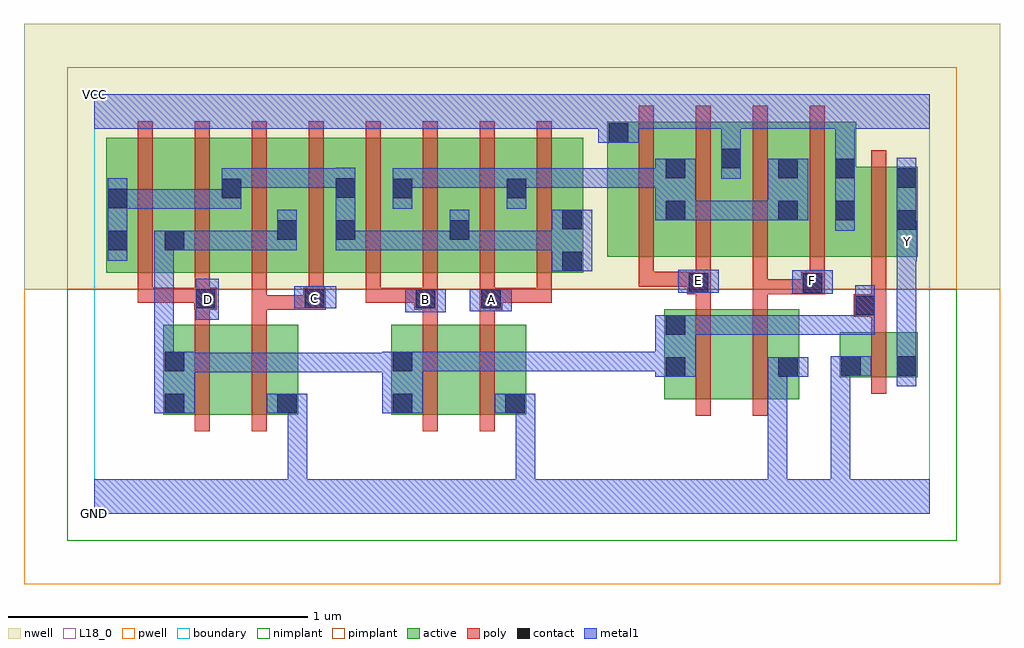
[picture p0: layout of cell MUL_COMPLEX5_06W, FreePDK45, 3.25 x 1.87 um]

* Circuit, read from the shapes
.subckt MUL_COMPLEX5_06W A B C D E F GND VCC Y
M1 n1 D n2 VSUBS nfet w=0.3u l=0.05u
M2 GND C n1 VSUBS nfet w=0.3u l=0.05u
M3 n3 B n2 VSUBS nfet w=0.3u l=0.05u
M4 GND A n3 VSUBS nfet w=0.3u l=0.05u
M5 n4 E n2 VSUBS nfet w=0.3u l=0.05u
M6 GND F n4 VSUBS nfet w=0.3u l=0.05u
M7 Y n2 GND VSUBS nfet w=0.15u l=0.05u
M8 n2 D n5 n6 pfet w=0.45u l=0.05u m=2
M9 n2 C n5 n6 pfet w=0.45u l=0.05u m=2
M10 n7 B n5 n6 pfet w=0.45u l=0.05u m=2
M11 n7 A n5 n6 pfet w=0.45u l=0.05u m=2
M12 n7 E VCC n6 pfet w=0.45u l=0.05u m=2
M13 n7 F VCC n6 pfet w=0.45u l=0.05u m=2
M14 Y n2 VCC n6 pfet w=0.3u l=0.05u
.ends

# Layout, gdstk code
import gdstk
lib = gdstk.Library(unit=1e-6, precision=1e-09)
def R(c, l, rs):  # rectangles x0, y0, x1, y1
    for r in rs: c.add(gdstk.rectangle(r[:2], r[2:], *l))
def A(c, l, x, y, w, h, nx, ny, dx, dy):  # array of equal rectangles
    R(c, l, [(x+i*dx, y+j*dy, x+i*dx+w, y+j*dy+h) for i in range(nx) for j in range(ny)])
active = (1, 0)
pwell = (2, 0)
nwell = (3, 0)
nimplant = (4, 0)
pimplant = (5, 0)
poly = (9, 0)
contact = (10, 0)
metal1 = (11, 0)
L18_0 = (18, 0)
boundary = (235, 0)

mul_complex5_06w = lib.new_cell('MUL_COMPLEX5_06W')
A(mul_complex5_06w, active, 0.04, 0.805, 0.075, 0.395, 3, 1, 0.38, 0)
A(mul_complex5_06w, active, 0.8, 0.805, 0.265, 0.45, 3, 1, 0.19, 0)
R(mul_complex5_06w, active, [(0.23,0.33,0.455,0.63), (0.23,0.33,0.305,0.63), (0.455,0.33,0.68,0.63), (0.605,0.33,0.68,0.63), (0.99,0.33,1.215,0.63), (0.99,0.33,1.065,0.63), (1.215,0.33,1.44,0.63), (1.365,0.33,1.44,0.547), (1.9,0.382,2.125,0.682), (1.9,0.382,1.975,0.682), (2.125,0.382,2.35,0.682), (2.275,0.395,2.35,0.682), (2.485,0.455,2.56,0.605), (2.485,0.455,2.745,0.605), (2.67,0.455,2.745,0.605), (0.04,0.805,0.305,1.255), (0.23,0.805,0.495,1.255), (0.23,0.805,0.305,1.07), (0.42,0.805,0.68,1.255), (0.605,0.805,0.68,1.07), (0.605,0.805,0.875,1.255), (0.99,0.805,1.065,1.2), (1.18,0.805,1.255,1.07), (1.37,0.805,1.63,1.255), (1.37,0.805,1.445,1.2), (1.555,0.805,1.63,1.047), (1.71,0.857,1.785,1.307), (1.71,0.857,1.975,1.307), (1.9,0.857,1.975,1.2), (1.9,0.857,2.16,1.307), (2.085,0.857,2.35,1.307), (2.085,0.857,2.16,1.255), (2.275,0.857,2.54,1.307), (2.275,0.857,2.35,1.2), (2.465,0.857,2.745,1.157), (2.465,0.857,2.54,1.307), (2.67,0.857,2.745,1.157)])
R(mul_complex5_06w, pwell, [(-0.235,-0.235,3.02,0.75)])
R(mul_complex5_06w, nwell, [(-0.235,0.75,3.02,1.635)])
R(mul_complex5_06w, nimplant, [(-0.09,-0.09,2.875,0.75)])
R(mul_complex5_06w, pimplant, [(-0.09,0.75,2.875,1.49)])
A(mul_complex5_06w, poly, 0.715, 0.705, 0.05, 0.095, 5, 1, 0.19, 0)
A(mul_complex5_06w, poly, 0.145, 0.75, 0.05, 0.56, 8, 1, 0.19, 0)
A(mul_complex5_06w, poly, 1.815, 0.802, 0.05, 0.56, 4, 1, 0.19, 0)
R(mul_complex5_06w, poly, [(0.335,0.275,0.385,0.685), (0.525,0.275,0.575,0.685), (1.095,0.275,1.145,0.685), (1.285,0.275,1.335,0.685), (2.005,0.327,2.055,0.737), (2.195,0.327,2.245,0.737), (2.59,0.4,2.64,0.66), (2.59,0.61,2.64,0.707), (0.335,0.635,0.385,0.73), (0.525,0.635,0.575,0.73), (1.095,0.635,1.145,0.73), (1.285,0.635,1.335,0.73), (2.532,0.657,2.64,0.732), (0.332,0.68,0.407,0.755), (0.525,0.68,0.575,0.73), (0.525,0.68,0.575,0.73), (0.525,0.68,0.575,0.73), (0.525,0.68,0.575,0.8), (0.525,0.68,0.747,0.73), (0.697,0.68,0.772,0.755), (1.067,0.68,1.145,0.755), (1.285,0.68,1.36,0.755), (2.59,0.682,2.64,0.852), (2.005,0.687,2.055,0.782), (2.195,0.687,2.245,0.782), (0.145,0.705,0.195,0.8), (0.145,0.705,0.195,0.755), (0.145,0.705,0.382,0.755), (0.332,0.705,0.382,0.755), (0.332,0.705,0.382,0.755), (0.335,0.705,0.385,0.8), (0.905,0.705,0.955,0.755), (0.905,0.705,1.117,0.755), (1.067,0.705,1.117,0.755), (1.067,0.705,1.117,0.755), (1.31,0.705,1.525,0.755), (1.475,0.705,1.525,0.755), (1.475,0.705,1.525,0.755), (1.475,0.705,1.525,0.755), (1.977,0.732,2.055,0.807), (2.195,0.732,2.245,0.782), (2.195,0.732,2.407,0.782), (2.195,0.732,2.245,0.852), (2.357,0.732,2.407,0.782), (2.357,0.732,2.407,0.782), (2.357,0.732,2.435,0.807), (1.815,0.757,1.865,0.852), (1.815,0.757,1.865,0.807), (1.815,0.757,2.027,0.807), (1.977,0.757,2.027,0.807), (1.977,0.757,2.027,0.807), (2.005,0.757,2.055,0.852), (2.385,0.757,2.435,0.852), (2.59,0.802,2.64,1.212)])
R(mul_complex5_06w, contact, [(0.235,0.335,0.3,0.4), (0.61,0.335,0.675,0.4), (0.995,0.335,1.06,0.4), (1.37,0.335,1.435,0.4), (1.905,0.457,1.97,0.522), (2.28,0.457,2.345,0.522), (2.49,0.46,2.555,0.525), (2.675,0.46,2.74,0.525), (0.235,0.475,0.3,0.54), (0.995,0.475,1.06,0.54), (1.905,0.597,1.97,0.662), (2.537,0.662,2.602,0.727), (0.337,0.685,0.402,0.75), (0.702,0.685,0.767,0.75), (1.072,0.685,1.137,0.75), (1.29,0.685,1.355,0.75), (1.982,0.737,2.047,0.802), (2.362,0.737,2.427,0.802), (1.56,0.81,1.625,0.875), (0.045,0.88,0.11,0.945), (0.235,0.88,0.3,0.945), (0.61,0.915,0.675,0.98), (0.805,0.915,0.87,0.98), (1.185,0.915,1.25,0.98), (2.675,0.947,2.74,1.012), (1.56,0.95,1.625,1.015), (1.905,0.98,1.97,1.045), (2.28,0.98,2.345,1.045), (2.47,0.98,2.535,1.045), (0.045,1.02,0.11,1.085), (0.425,1.052,0.49,1.117), (0.995,1.052,1.06,1.117), (1.375,1.052,1.44,1.117), (0.805,1.055,0.87,1.12), (2.675,1.087,2.74,1.152), (1.905,1.12,1.97,1.185), (2.28,1.12,2.345,1.185), (2.47,1.12,2.535,1.185), (2.09,1.152,2.155,1.217), (1.715,1.237,1.78,1.302)])
R(mul_complex5_06w, metal1, [(0,0,2.785,0.115), (0.645,0.05,0.71,0.115), (0.645,0.05,0.71,0.115), (0.645,0.05,0.71,0.115), (0.645,0.05,0.71,0.115), (0.645,0.05,0.71,0.4), (1.405,0.05,1.47,0.115), (1.405,0.05,1.47,0.115), (1.405,0.05,1.47,0.4), (2.245,0.05,2.31,0.522), (2.455,0.05,2.52,0.525), (0.2,0.335,0.335,0.54), (0.575,0.335,0.71,0.4), (0.96,0.335,1.095,0.54), (1.335,0.335,1.47,0.4), (1.405,0.335,1.47,0.4), (1.405,0.335,1.47,0.4), (2.675,0.425,2.74,0.56), (1.87,0.457,2.005,0.662), (2.245,0.457,2.31,0.522), (2.245,0.457,2.31,0.522), (2.245,0.457,2.31,0.522), (2.245,0.457,2.31,0.522), (2.245,0.457,2.38,0.522), (2.455,0.46,2.52,0.525), (2.455,0.46,2.52,0.525), (2.455,0.46,2.52,0.525), (2.455,0.46,2.52,0.525), (2.455,0.46,2.52,0.525), (2.455,0.46,2.52,0.525), (2.455,0.46,2.59,0.525), (0.27,0.472,0.335,0.537), (0.27,0.472,0.335,0.537), (0.27,0.472,0.502,0.537), (0.437,0.472,0.502,0.537), (0.437,0.472,0.502,0.537), (0.437,0.472,0.502,0.537), (0.437,0.472,0.64,0.537), (0.575,0.472,0.64,0.537), (0.575,0.472,0.64,0.537), (0.575,0.472,0.64,0.537), (0.575,0.472,0.812,0.537), (0.747,0.472,0.812,0.537), (0.747,0.472,0.812,0.537), (0.747,0.472,0.812,0.537), (0.747,0.472,1.025,0.537), (0.2,0.475,0.265,0.54), (0.2,0.475,0.265,0.54), (0.2,0.475,0.265,0.945), (1.03,0.475,1.095,0.54), (1.03,0.475,1.095,0.54), (1.03,0.475,1.262,0.54), (1.197,0.475,1.262,0.54), (1.197,0.475,1.262,0.54), (1.197,0.475,1.262,0.54), (1.197,0.475,1.4,0.54), (1.335,0.475,1.4,0.54), (1.335,0.475,1.607,0.54), (1.542,0.475,1.607,0.54), (1.542,0.475,1.607,0.54), (1.542,0.475,1.607,0.54), (1.542,0.475,1.797,0.54), (1.732,0.475,1.797,0.54), (1.732,0.475,1.797,0.54), (1.732,0.475,1.797,0.54), (1.732,0.475,1.935,0.54), (2.675,0.495,2.74,0.907), (1.94,0.597,2.005,0.662), (1.94,0.597,2.005,0.662), (1.94,0.597,2.172,0.662), (2.107,0.597,2.172,0.662), (2.107,0.597,2.172,0.662), (2.107,0.597,2.172,0.662), (2.107,0.597,2.382,0.662), (2.317,0.597,2.382,0.662), (2.317,0.597,2.382,0.662), (2.317,0.597,2.382,0.662), (2.317,0.597,2.602,0.662), (2.537,0.597,2.602,0.662), (2.537,0.597,2.602,0.692), (2.537,0.627,2.602,0.692), (2.537,0.627,2.602,0.692), (2.537,0.627,2.602,0.762), (0.337,0.647,0.415,0.785), (1.037,0.672,1.172,0.75), (1.252,0.675,1.392,0.75), (0.667,0.685,0.807,0.76), (2.327,0.735,2.462,0.812), (1.947,0.737,2.082,0.815), (1.525,0.81,1.66,1.015), (2.675,0.842,2.742,0.977), (0.045,0.845,0.11,1.12), (0.2,0.88,0.335,0.945), (0.27,0.88,0.335,0.945), (0.27,0.88,0.335,0.945), (0.27,0.88,0.502,0.945), (0.437,0.88,0.502,0.945), (0.437,0.88,0.502,0.945), (0.437,0.88,0.502,0.945), (0.437,0.88,0.675,0.945), (0.61,0.88,0.675,1.015), (0.805,0.88,0.87,0.945), (0.805,0.88,0.87,0.945), (0.805,0.88,0.87,0.945), (0.805,0.88,0.87,0.945), (0.805,0.88,0.87,1.155), (0.805,0.88,1.007,0.945), (0.942,0.88,1.007,0.945), (0.942,0.88,1.007,0.945), (0.942,0.88,1.007,0.945), (0.942,0.88,1.25,0.945), (1.185,0.88,1.25,0.945), (1.185,0.88,1.25,0.945), (1.185,0.88,1.25,1.015), (1.185,0.88,1.4,0.945), (1.335,0.88,1.4,0.945), (1.335,0.88,1.59,0.945), (1.525,0.88,1.59,0.945), (1.525,0.88,1.59,0.945), (2.675,0.912,2.74,0.977), (2.675,0.912,2.74,1.187), (2.47,0.945,2.535,1.22), (1.87,0.98,2.005,1.185), (1.94,0.98,2.005,1.045), (1.94,0.98,2.005,1.045), (1.94,0.98,2.142,1.045), (2.077,0.98,2.142,1.045), (2.077,0.98,2.142,1.045), (2.077,0.98,2.142,1.045), (2.077,0.98,2.31,1.045), (2.245,0.98,2.38,1.185), (0.045,1.017,0.11,1.082), (0.045,1.017,0.11,1.082), (0.045,1.017,0.247,1.082), (0.182,1.017,0.247,1.082), (0.182,1.017,0.247,1.082), (0.182,1.017,0.247,1.082), (0.182,1.017,0.49,1.082), (0.425,1.017,0.49,1.152), (0.995,1.017,1.06,1.152), (1.375,1.017,1.44,1.152), (0.425,1.087,0.49,1.152), (0.425,1.087,0.49,1.152), (0.425,1.087,0.675,1.152), (0.61,1.087,0.675,1.152), (0.61,1.087,0.675,1.152), (0.61,1.087,0.675,1.152), (0.61,1.087,0.87,1.152), (0.995,1.087,1.06,1.152), (0.995,1.087,1.06,1.152), (0.995,1.087,1.262,1.152), (1.197,1.087,1.262,1.152), (1.197,1.087,1.44,1.152), (1.375,1.087,1.44,1.152), (1.375,1.087,1.44,1.152), (1.375,1.087,1.577,1.152), (1.512,1.087,1.577,1.152), (1.512,1.087,1.577,1.152), (1.512,1.087,1.577,1.152), (1.512,1.087,1.797,1.152), (1.732,1.087,1.797,1.152), (1.732,1.087,1.797,1.152), (1.732,1.087,1.797,1.152), (1.732,1.087,1.797,1.152), (1.732,1.087,1.797,1.152), (1.732,1.087,1.935,1.152), (2.09,1.117,2.155,1.252), (2.47,1.155,2.535,1.35), (2.09,1.187,2.155,1.35), (1.68,1.237,1.815,1.302), (1.75,1.237,1.815,1.35), (0,1.285,2.785,1.4)])
R(mul_complex5_06w, L18_0, [(0,0,2.785,0.115), (0.645,0.05,0.71,0.115), (0.645,0.05,0.71,0.115), (0.645,0.05,0.71,0.115), (0.645,0.05,0.71,0.115), (0.645,0.05,0.71,0.4), (1.405,0.05,1.47,0.115), (1.405,0.05,1.47,0.115), (1.405,0.05,1.47,0.4), (2.245,0.05,2.31,0.522), (2.455,0.05,2.52,0.525), (0.575,0.335,0.71,0.4), (1.335,0.335,1.47,0.4), (1.405,0.335,1.47,0.4), (1.405,0.335,1.47,0.4), (2.675,0.425,2.74,0.56), (2.245,0.457,2.31,0.522), (2.245,0.457,2.31,0.522), (2.245,0.457,2.31,0.522), (2.245,0.457,2.31,0.522), (2.245,0.457,2.38,0.522), (2.455,0.46,2.52,0.525), (2.455,0.46,2.52,0.525), (2.455,0.46,2.52,0.525), (2.455,0.46,2.52,0.525), (2.455,0.46,2.52,0.525), (2.455,0.46,2.52,0.525), (2.455,0.46,2.59,0.525), (2.675,0.495,2.74,0.907), (0.337,0.647,0.415,0.785), (1.037,0.672,1.172,0.75), (1.252,0.675,1.392,0.75), (0.347,0.682,0.412,0.747), (1.072,0.682,1.137,0.747), (1.292,0.682,1.357,0.747), (0.667,0.685,0.807,0.76), (0.702,0.687,0.767,0.752), (2.327,0.735,2.462,0.812), (1.947,0.737,2.082,0.815), (1.982,0.747,2.047,0.812), (2.362,0.747,2.427,0.812), (2.675,0.842,2.742,0.977), (2.677,0.877,2.742,0.942), (2.675,0.912,2.74,0.977), (2.675,0.912,2.74,1.187), (2.47,0.945,2.535,1.22), (2.09,1.117,2.155,1.252), (2.47,1.155,2.535,1.35), (2.09,1.187,2.155,1.35), (1.68,1.237,1.815,1.302), (1.75,1.237,1.815,1.35), (0,1.285,2.785,1.4)])
R(mul_complex5_06w, boundary, [(0,0,2.785,1.4)])
mul_complex5_06w.add(gdstk.Label('A', (1.325,0.715), layer=11, texttype=0))
mul_complex5_06w.add(gdstk.Label('B', (1.105,0.715), layer=11, texttype=0))
mul_complex5_06w.add(gdstk.Label('C', (0.735,0.72), layer=11, texttype=0))
mul_complex5_06w.add(gdstk.Label('D', (0.38,0.715), layer=11, texttype=0))
mul_complex5_06w.add(gdstk.Label('E', (2.015,0.78), layer=11, texttype=0))
mul_complex5_06w.add(gdstk.Label('F', (2.395,0.78), layer=11, texttype=0))
mul_complex5_06w.add(gdstk.Label('Y', (2.71,0.91), layer=11, texttype=0))
mul_complex5_06w.add(gdstk.Label('VCC', (0,1.4), layer=11, texttype=0))
mul_complex5_06w.add(gdstk.Label('GND', (0,0), layer=11, texttype=0))

lib.write_gds('MUL_COMPLEX5_06W.gds')
